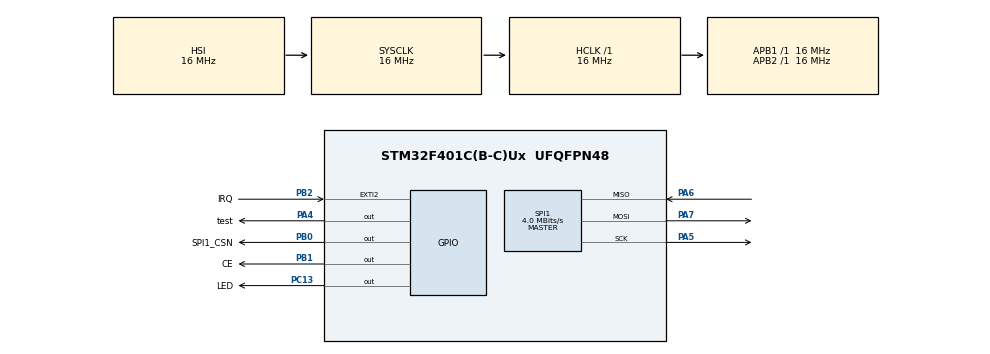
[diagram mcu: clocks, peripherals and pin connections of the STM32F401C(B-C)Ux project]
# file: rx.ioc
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Mcu.Family=STM32F4
Mcu.Name=STM32F401C(B-C)Ux
Mcu.Package=UFQFPN48
NVIC.EXTI2_IRQn=true\:0\:0\:false\:false\:true\:true\:true\:true
NVIC.PriorityGroup=NVIC_PRIORITYGROUP_4
NVIC.TIM4_IRQn=true\:0\:0\:false\:false\:true\:true\:true\:true
PA4.GPIO_Label=test
PA4.Signal=GPIO_Output
PA5.Mode=Full_Duplex_Master
PA5.Signal=SPI1_SCK
PA6.Mode=Full_Duplex_Master
PA6.Signal=SPI1_MISO
PA7.Mode=Full_Duplex_Master
PA7.Signal=SPI1_MOSI
PB0.GPIO_Label=SPI1_CSN
PB0.GPIO_Speed=GPIO_SPEED_FREQ_HIGH
PB0.PinState=GPIO_PIN_SET
PB0.Signal=GPIO_Output
PB1.GPIO_Label=CE
PB1.GPIO_Speed=GPIO_SPEED_FREQ_HIGH
PB1.Signal=GPIO_Output
PB2.GPIO_Label=IRQ
PB2.GPIO_ModeDefaultEXTI=GPIO_MODE_IT_FALLING
PB2.Signal=GPXTI2
PC13-ANTI_TAMP.GPIO_Label=LED
PC13-ANTI_TAMP.Signal=GPIO_Output
ProjectManager.HeapSize=0x200
ProjectManager.StackSize=0x400
ProjectManager.TargetToolchain=STM32CubeIDE
RCC.AHBFreq_Value=16000000
RCC.APB1Freq_Value=16000000
RCC.APB2Freq_Value=16000000
RCC.CortexFreq_Value=16000000
RCC.HSE_VALUE=25000000
RCC.HSI_VALUE=16000000
RCC.LSE_VALUE=32768
RCC.SYSCLKFreq_VALUE=16000000
RCC.VCOOutputFreq_Value=192000000
SPI1.BaudRatePrescaler=SPI_BAUDRATEPRESCALER_4
SPI1.CalculateBaudRate=4.0 MBits/s
SPI1.DataSize=SPI_DATASIZE_8BIT
SPI1.Direction=SPI_DIRECTION_2LINES
SPI1.Mode=SPI_MODE_MASTER
SPI1.VirtualType=VM_MASTER
TIM4.Period=10000-1
TIM4.Prescaler=16000-1
VP_TIM4_VS_ClockSourceINT.Mode=Internal
board=custom

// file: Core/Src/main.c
/* USER CODE BEGIN Header */
/**
  ******************************************************************************
  * @file           : main.c
  * @brief          : Main program body
  ******************************************************************************
  * @attention
  *
  * Copyright (c) 2023 STMicroelectronics.
  * All rights reserved.
  *
  * This software is licensed under terms that can be found in the LICENSE file
  * in the root directory of this software component.
  * If no LICENSE file comes with this software, it is provided AS-IS.
  *
  ******************************************************************************
  */
/* USER CODE END Header */
#include "main.h"
#include "spi.h"
#include "tim.h"
#include "gpio.h"

/* USER CODE BEGIN Includes */
#include "nrf24l01p.h"
/* USER CODE END Includes */

void SystemClock_Config(void);
/* USER CODE BEGIN PFP */
void HAL_GPIO_EXTI_Callback(uint16_t GPIO_Pin);

/* USER CODE END PFP */

/* USER CODE BEGIN 0 */

uint8_t rx_data[NRF24L01P_PAYLOAD_LENGTH] = {1, 0};
uint8_t pipe_addr[NRF24L01P_PIPE_ADDRESS_WIDTH] = {0xA0, 0x2E, 0xA4, 0xB4, 0x6F};

lightFlag = 0;

/* USER CODE END 0 */

int main(void)
{

  /* MCU Configuration--------------------------------------------------------*/

  /* Reset of all peripherals, Initializes the Flash interface and the Systick. */
  HAL_Init();

  /* Configure the system clock */
  SystemClock_Config();

  /* Initialize all configured peripherals */
  MX_GPIO_Init();
  MX_SPI1_Init();
  MX_TIM4_Init();
  /* USER CODE BEGIN 2 */
  nrf24l01p_rx_init(2500, _1Mbps, pipe_addr);
  HAL_TIM_Base_Start_IT(&htim4);
  /* USER CODE END 2 */

  /* Infinite loop */
  /* USER CODE BEGIN WHILE */
  while (1)
  {
	  if (rx_data[0] == 0 && lightFlag)
	  {
		  HAL_GPIO_WritePin(GPIOC, GPIO_PIN_13, 0);
		  HAL_GPIO_WritePin(test_GPIO_Port, test_Pin, 1);
		  TIM4->CNT &= 0x00;
	  }

	  if (rx_data[0] == 0 && rx_data[1] && !lightFlag)
	  {
		  TIM4->CNT &= 0x00;
		  lightFlag = 1;
		  HAL_GPIO_WritePin(GPIOC, GPIO_PIN_13, 0);
		  HAL_GPIO_WritePin(test_GPIO_Port, test_Pin, 1);
	  }

	  HAL_Delay(100);

    /* USER CODE END WHILE */

  }
}

void SystemClock_Config(void)
{
  RCC_OscInitTypeDef RCC_OscInitStruct = {0};
  RCC_ClkInitTypeDef RCC_ClkInitStruct = {0};

  /** Configure the main internal regulator output voltage
  */
  __HAL_RCC_PWR_CLK_ENABLE();
  __HAL_PWR_VOLTAGESCALING_CONFIG(PWR_REGULATOR_VOLTAGE_SCALE2);

  /** Initializes the RCC Oscillators according to the specified parameters
  * in the RCC_OscInitTypeDef structure.
  */
  RCC_OscInitStruct.OscillatorType = RCC_OSCILLATORTYPE_HSI;
  RCC_OscInitStruct.HSIState = RCC_HSI_ON;
  RCC_OscInitStruct.HSICalibrationValue = RCC_HSICALIBRATION_DEFAULT;
  RCC_OscInitStruct.PLL.PLLState = RCC_PLL_NONE;
  if (HAL_RCC_OscConfig(&RCC_OscInitStruct) != HAL_OK)
  {
    Error_Handler();
  }

  /** Initializes the CPU, AHB and APB buses clocks
  */
  RCC_ClkInitStruct.ClockType = RCC_CLOCKTYPE_HCLK|RCC_CLOCKTYPE_SYSCLK
                              |RCC_CLOCKTYPE_PCLK1|RCC_CLOCKTYPE_PCLK2;
  RCC_ClkInitStruct.SYSCLKSource = RCC_SYSCLKSOURCE_HSI;
  RCC_ClkInitStruct.AHBCLKDivider = RCC_SYSCLK_DIV1;
  RCC_ClkInitStruct.APB1CLKDivider = RCC_HCLK_DIV1;
  RCC_ClkInitStruct.APB2CLKDivider = RCC_HCLK_DIV1;

  if (HAL_RCC_ClockConfig(&RCC_ClkInitStruct, FLASH_LATENCY_0) != HAL_OK)
  {
    Error_Handler();
  }
}

/* USER CODE BEGIN 4 */

void HAL_GPIO_EXTI_Callback(uint16_t GPIO_Pin)
{
	if(GPIO_Pin == NRF24L01P_IRQ_PIN_NUMBER)
		nrf24l01p_rx_receive(rx_data); // read data when data ready flag is set
}

/* USER CODE END 4 */

void Error_Handler(void)
{
  __disable_irq();
  while (1)
  {
  }
}
